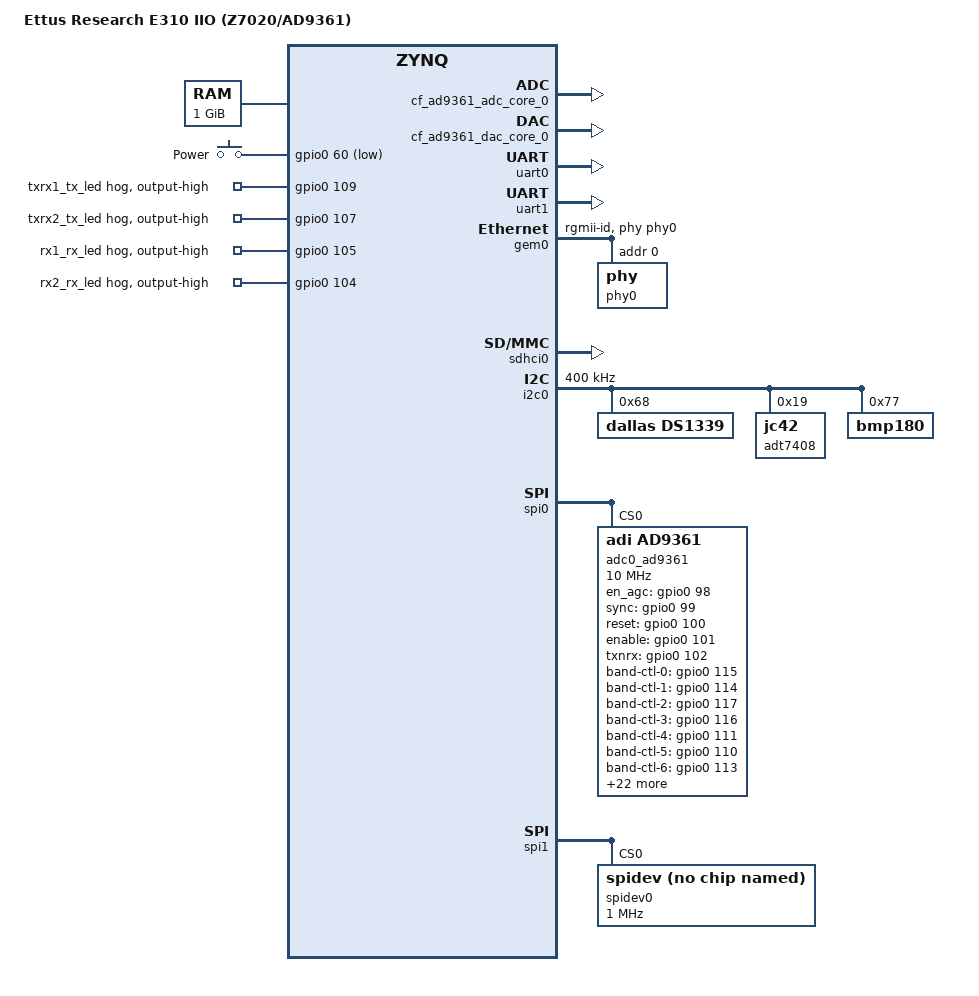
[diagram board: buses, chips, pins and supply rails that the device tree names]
// SPDX-License-Identifier: GPL-2.0
/*
 * Ettus Research E310
 * Link: https://www.ettus.com/all-products/e310/
 *
 * hdl_project: <usrpe31x>
 * board_revision: <>
 *
 * Copyright (C) 2018-2019 Analog Devices Inc.
 */
/dts-v1/;
#include "zynq.dtsi"
#include <dt-bindings/input/input.h>
#include <dt-bindings/gpio/gpio.h>
#include <dt-bindings/interrupt-controller/irq.h>

#define AD9361_EXT_BAND_CTL_SHORTHANDS
#include <dt-bindings/iio/adc/adi,ad9361.h>

/ {
	model = "Ettus Research E310 IIO (Z7020/AD9361)";
	memory {
		device_type = "memory";
		reg = <0x00000000 0x40000000>;
	};

	aliases: aliases {
		ethernet0 = &gem0;
		serial0 = &uart0;
		serial1 = &uart1;
	};

	chosen {
		stdout-path = "serial0:115200n8";
	};

	clocks {
		xo_40mhz_fixed_clk: clock@0 {
			#clock-cells = <0>;
			compatible = "adjustable-clock";
			clock-frequency = <40000000>;
			clock-accuracy = <200000>; /* 200 ppm (ppb) */
			clock-output-names = "ad9361_ext_refclk";
		};

		usb_ulpi_fixed_clk: clock@2 {
			#clock-cells = <0>;
			compatible = "fixed-clock";
			clock-frequency = <24000000>;
			clock-output-names = "24MHz";
		};
	};

	gpio-keys {
		#address-cells = <1>;
		#size-cells = <0>;
		compatible = "gpio-keys";

		power {
			interrupt-parent = <&gpio0>;
			label = "Power";
			gpios = <&gpio0 60 GPIO_ACTIVE_LOW>;

			linux,code = <KEY_POWER>;
			gpio-key,wakeup;
		};
	};
};

&uart0 {
	status = "okay";
};

&uart1 {
	status = "okay";
};

&gem0 {
	phy-handle = <&phy0>;
	phy-mode = "rgmii-id";

	phy0: phy@0 {
		device_type = "ethernet-phy";
		reg = <0x0>;
	};
};

&usb0 {
	xlnx,phy-reset-gpio = <&gpio0 7 0>;
};

&sdhci0 {
	status = "okay";
	disable-wp;
};

&i2c0 {
	status = "okay";
	clock-frequency = <400000>;

	ds1339: rtc@68 {
		compatible = "dallas,ds1339";
		reg = <0x68>;
	};

	adt7408: temp@19 {
		compatible = "jc42";
		reg = <0x19>;
	};

	bmp180: pressure@77 {
		compatible = "bmp180";
		reg = <0x77>;
	};
};

/ {
	fpga_axi: fpga-axi@0 {
		compatible = "simple-bus";
		#address-cells = <0x1>;
		#size-cells = <0x1>;
		ranges;

		axi_gpio: axi_gpio@41600000 {
			#gpio-cells = <2>;
			compatible = "xlnx,xps-gpio-1.00.a";
			gpio-controller ;
			reg = <0x41600000 0x10000>;
			interrupt-parent = <&intc>;

			#address-cells = <1>;
			#size-cells = <0>;

		};

		rx_dma: dma@7c400000 {
			compatible = "adi,axi-dmac-1.00.a";
			reg = <0x7c400000 0x10000>;
			#dma-cells = <1>;
			interrupts = <0 57 IRQ_TYPE_LEVEL_HIGH>;
			clocks = <&clkc 16>;

			adi,channels {
				#size-cells = <0>;
				#address-cells = <1>;

				dma-channel@0 {
					reg = <0>;
					adi,source-bus-width = <64>;
					adi,source-bus-type = <2>;
					adi,destination-bus-width = <64>;
					adi,destination-bus-type = <0>;
				};
			};
		};

		tx_dma: dma@7c420000 {
			compatible = "adi,axi-dmac-1.00.a";
			reg = <0x7c420000 0x10000>;
			#dma-cells = <1>;
			interrupts = <0 56 IRQ_TYPE_LEVEL_HIGH>;
			clocks = <&clkc 16>;

			adi,channels {
				#size-cells = <0>;
				#address-cells = <1>;

				dma-channel@0 {
					reg = <0>;
					adi,source-bus-width = <64>;
					adi,source-bus-type = <0>;
					adi,destination-bus-width = <64>;
					adi,destination-bus-type = <2>;
				};
			};
		};

		cf_ad9361_adc_core_0: cf-ad9361-lpc@79020000 {
			compatible = "adi,axi-ad9361-6.00.a";
			reg = <0x79020000 0x6000>;
			dmas = <&rx_dma 0>;
			dma-names = "rx";
			spibus-connected = <&adc0_ad9361>;
		};

		cf_ad9361_dac_core_0: cf-ad9361-dds-core-lpc@79024000 {
			compatible = "adi,axi-ad9361-dds-6.00.a";
			reg = <0x79024000 0x1000>;
			clocks = <&adc0_ad9361 13>;
			clock-names = "sampl_clk";
			dmas = <&tx_dma 0>;
			dma-names = "tx";
		};
	};
};

&gpio0 {
	txrx1_tx_led {
		gpio-hog;
		gpios = <109 GPIO_ACTIVE_HIGH>;
		output-high;
		line-name = "txrx1_tx_led";
	};

	txrx2_tx_led {
		gpio-hog;
		gpios = <107 GPIO_ACTIVE_HIGH>;
		output-high;
		line-name = "txrx2_tx_led";
	};

	rx1_rx_led {
		gpio-hog;
		gpios = <105 GPIO_ACTIVE_HIGH>;
		output-high;
		line-name = "rx1_rx_led";
	};

	rx2_rx_led {
		gpio-hog;
		gpios = <104 GPIO_ACTIVE_HIGH>;
		output-high;
		line-name = "rx2_rx_led";
	};
};

&spi0 {
	status = "okay";

	adc0_ad9361: ad9361-phy@0 {
		#address-cells = <1>;
		#size-cells = <0>;
		#clock-cells = <1>;
		compatible = "adi,ad9361";

		/* SPI Setup */
		reg = <0>;
		spi-cpha;
		spi-max-frequency = <10000000>;

		/* Clocks */
		clocks = <&xo_40mhz_fixed_clk 0>;
		clock-names = "ad9361_ext_refclk";
		clock-output-names = "rx_sampl_clk", "tx_sampl_clk";

		/* Digital Interface Control */

		 /* adi,digital-interface-tune-skip-mode:
		  * 0 = TUNE RX&TX
		  * 1 = SKIP TX
		  * 2 = SKIP ALL
		  */
		adi,digital-interface-tune-skip-mode = <0>;

		adi,pp-tx-swap-enable;
		adi,pp-rx-swap-enable;
		adi,rx-frame-pulse-mode-enable;
		adi,rx-data-delay = <4>;
		adi,tx-fb-clock-delay = <7>;

		/* CMOS */
		adi,full-port-enable;

		adi,xo-disable-use-ext-refclk-enable;

		/* Mode Setup */

		adi,2rx-2tx-mode-enable;

		/* ENSM Mode */
		adi,frequency-division-duplex-mode-enable;
		//adi,ensm-enable-pin-pulse-mode-enable;
		//adi,ensm-enable-txnrx-control-enable;


		/* adi,rx-rf-port-input-select:
		 * 0 = (RX1A_N &  RX1A_P) and (RX2A_N & RX2A_P) enabled; balanced
		 * 1 = (RX1B_N &  RX1B_P) and (RX2B_N & RX2B_P) enabled; balanced
		 * 2 = (RX1C_N &  RX1C_P) and (RX2C_N & RX2C_P) enabled; balanced
		 *
		 * 3 = RX1A_N and RX2A_N enabled; unbalanced
		 * 4 = RX1A_P and RX2A_P enabled; unbalanced
		 * 5 = RX1B_N and RX2B_N enabled; unbalanced
		 * 6 = RX1B_P and RX2B_P enabled; unbalanced
		 * 7 = RX1C_N and RX2C_N enabled; unbalanced
		 * 8 = RX1C_P and RX2C_P enabled; unbalanced
		 */

		adi,rx-rf-port-input-select = <0>; /* (RX1A_N &  RX1A_P) and (RX2A_N & RX2A_P) enabled; balanced */

		/* adi,tx-rf-port-input-select:
		 * 0	TX1A, TX2A
		 * 1	TX1B, TX2B
		 */

		adi,tx-rf-port-input-select = <0>; /* TX1A, TX2A */
		//adi,update-tx-gain-in-alert-enable;
		adi,tx-attenuation-mdB = <10000>;
		adi,tx-lo-powerdown-managed-enable;

		adi,rf-rx-bandwidth-hz = <18000000>;
		adi,rf-tx-bandwidth-hz = <18000000>;
		adi,rx-synthesizer-frequency-hz = /bits/ 64 <2400000000>;
		adi,tx-synthesizer-frequency-hz = /bits/ 64 <2450000000>;

		/*				BBPLL     ADC        R2CLK     R1CLK    CLKRF    RSAMPL  */
		adi,rx-path-clock-frequencies = <983040000 245760000 122880000 61440000 30720000 30720000>;
		/*				BBPLL     DAC        T2CLK     T1CLK    CLKTF    TSAMPL  */
		adi,tx-path-clock-frequencies = <983040000 122880000 122880000 61440000 30720000 30720000>;

		/* Gain Control */

		/* adi,gc-rx[1|2]-mode:
		 * 0 = RF_GAIN_MGC
		 * 1 = RF_GAIN_FASTATTACK_AGC
		 * 2 = RF_GAIN_SLOWATTACK_AGC
		 * 3 = RF_GAIN_HYBRID_AGC
		 */

		adi,gc-rx1-mode = <2>;
		adi,gc-rx2-mode = <2>;
		adi,gc-adc-ovr-sample-size = <4>; /* sum 4 samples */
		adi,gc-adc-small-overload-thresh = <47>; /* sum of squares */
		adi,gc-adc-large-overload-thresh = <58>; /* sum of squares */
		adi,gc-lmt-overload-high-thresh = <800>; /* mV */
		adi,gc-lmt-overload-low-thresh = <704>; /* mV */
		adi,gc-dec-pow-measurement-duration = <8192>; /* 0..524288 Samples */
		adi,gc-low-power-thresh = <24>; /* 0..-64 dBFS vals are set pos */
		//adi,gc-dig-gain-enable;
		//adi,gc-max-dig-gain = <15>;

		/* Manual Gain Control Setup */

		//adi,mgc-rx1-ctrl-inp-enable; /* uncomment to use ctrl inputs */
		//adi,mgc-rx2-ctrl-inp-enable; /* uncomment to use ctrl inputs */
		adi,mgc-inc-gain-step = <2>;
		adi,mgc-dec-gain-step = <2>;

		/* adi,mgc-split-table-ctrl-inp-gain-mode:
		 * (relevant if adi,split-gain-table-mode-enable is set)
		 * 0 = AGC determine this
		 * 1 = only in LPF
		 * 2 = only in LMT
		 */

		adi,mgc-split-table-ctrl-inp-gain-mode = <0>;

		/* Automatic Gain Control Setup */

		adi,agc-attack-delay-extra-margin-us= <1>; /* us */
		adi,agc-outer-thresh-high = <5>; /* -dBFS */
		adi,agc-outer-thresh-high-dec-steps = <2>; /* 0..15 */
		adi,agc-inner-thresh-high = <10>; /* -dBFS */
		adi,agc-inner-thresh-high-dec-steps = <1>; /* 0..7 */
		adi,agc-inner-thresh-low = <12>; /* -dBFS */
		adi,agc-inner-thresh-low-inc-steps = <1>; /* 0..7 */
		adi,agc-outer-thresh-low = <18>; /* -dBFS */
		adi,agc-outer-thresh-low-inc-steps = <2>; /* 0..15 */

		adi,agc-adc-small-overload-exceed-counter = <10>; /* 0..15 */
		adi,agc-adc-large-overload-exceed-counter = <10>; /* 0..15 */
		adi,agc-adc-large-overload-inc-steps = <2>; /* 0..15 */
		//adi,agc-adc-lmt-small-overload-prevent-gain-inc-enable;
		adi,agc-lmt-overload-large-exceed-counter = <10>; /* 0..15 */
		adi,agc-lmt-overload-small-exceed-counter = <10>; /* 0..15 */
		adi,agc-lmt-overload-large-inc-steps = <2>; /* 0..7 */
		//adi,agc-dig-saturation-exceed-counter = <3>; /* 0..15 */
		//adi,agc-dig-gain-step-size = <4>; /* 1..8 */

		//adi,agc-sync-for-gain-counter-enable;
		adi,agc-gain-update-interval-us = <1000>;  /* 1ms */
		//adi,agc-immed-gain-change-if-large-adc-overload-enable;
		//adi,agc-immed-gain-change-if-large-lmt-overload-enable;

		/* Fast AGC */

		adi,fagc-dec-pow-measurement-duration = <64>; /* 64 Samples */
		//adi,fagc-allow-agc-gain-increase-enable;
		adi,fagc-lp-thresh-increment-steps = <1>;
		adi,fagc-lp-thresh-increment-time = <5>;

		adi,fagc-energy-lost-stronger-sig-gain-lock-exit-cnt = <8>;
		adi,fagc-final-overrange-count = <3>;
		//adi,fagc-gain-increase-after-gain-lock-enable;
		adi,fagc-gain-index-type-after-exit-rx-mode = <0>;
		adi,fagc-lmt-final-settling-steps = <1>;
		adi,fagc-lock-level = <10>;
		adi,fagc-lock-level-gain-increase-upper-limit = <5>;
		adi,fagc-lock-level-lmt-gain-increase-enable;

		adi,fagc-lpf-final-settling-steps = <1>;
		adi,fagc-optimized-gain-offset = <5>;
		adi,fagc-power-measurement-duration-in-state5 = <64>;
		adi,fagc-rst-gla-engergy-lost-goto-optim-gain-enable;
		adi,fagc-rst-gla-engergy-lost-sig-thresh-below-ll = <10>;
		adi,fagc-rst-gla-engergy-lost-sig-thresh-exceeded-enable;
		adi,fagc-rst-gla-if-en-agc-pulled-high-mode = <0>;
		adi,fagc-rst-gla-large-adc-overload-enable;
		adi,fagc-rst-gla-large-lmt-overload-enable;
		adi,fagc-rst-gla-stronger-sig-thresh-above-ll = <10>;
		adi,fagc-rst-gla-stronger-sig-thresh-exceeded-enable;
		adi,fagc-state-wait-time-ns = <260>;
		adi,fagc-use-last-lock-level-for-set-gain-enable;

		/* RSSI */

		/* adi,rssi-restart-mode:
		 * 0 = AGC_IN_FAST_ATTACK_MODE_LOCKS_THE_GAIN,
		 * 1 = EN_AGC_PIN_IS_PULLED_HIGH,
		 * 2 = ENTERS_RX_MODE,
		 * 3 = GAIN_CHANGE_OCCURS,
		 * 4 = SPI_WRITE_TO_REGISTER,
		 * 5 = GAIN_CHANGE_OCCURS_OR_EN_AGC_PIN_PULLED_HIGH,
		 */
		adi,rssi-restart-mode = <3>;
		//adi,rssi-unit-is-rx-samples-enable;
		adi,rssi-delay = <1>; /* 1us */
		adi,rssi-wait = <1>; /* 1us */
		adi,rssi-duration = <1000>; /* 1ms */

		/* Control Outputs */
		adi,ctrl-outs-index = <0>;
		adi,ctrl-outs-enable-mask = <0xFF>;

		/* AuxADC Temp Sense Control */

		adi,temp-sense-measurement-interval-ms = <1000>;
		adi,temp-sense-offset-signed = <0xCE>;
		adi,temp-sense-periodic-measurement-enable;

		/* AuxDAC Control */

		adi,aux-dac-manual-mode-enable;

		adi,aux-dac1-default-value-mV = <0>;
		//adi,aux-dac1-active-in-rx-enable;
		//adi,aux-dac1-active-in-tx-enable;
		//adi,aux-dac1-active-in-alert-enable;
		adi,aux-dac1-rx-delay-us = <0>;
		adi,aux-dac1-tx-delay-us = <0>;

		adi,aux-dac2-default-value-mV = <0>;
		//adi,aux-dac2-active-in-rx-enable;
		//adi,aux-dac2-active-in-tx-enable;
		//adi,aux-dac2-active-in-alert-enable;
		adi,aux-dac2-rx-delay-us = <0>;
		adi,aux-dac2-tx-delay-us = <0>;

		/* Control GPIOs */

		en_agc-gpios = <&gpio0 98 0>;
		sync-gpios = <&gpio0 99 0>;
		reset-gpios = <&gpio0 100 0>;
		enable-gpios = <&gpio0 101 0>;
		txnrx-gpios = <&gpio0 102 0>;

		/* Filter Bank Control */

		adi,rx-rf-port-input-select-lock-enable;
		adi,tx-rf-port-input-select-lock-enable;

		adi,band-ctl-0-gpio = <&gpio0 115 GPIO_ACTIVE_HIGH>; /* txrx2_antsel_v1 */
		adi,band-ctl-1-gpio = <&gpio0 114 GPIO_ACTIVE_HIGH>; /* txrx2_antsel_v2 */
		adi,band-ctl-2-gpio = <&gpio0 117 GPIO_ACTIVE_HIGH>; /* txrx1_antsel_v1 */
		adi,band-ctl-3-gpio = <&gpio0 116 GPIO_ACTIVE_HIGH>; /* txrx1_antsel_v2 */

		adi,band-ctl-4-gpio = <&gpio0 111 GPIO_ACTIVE_HIGH>; /* rx2_antsel_v1 */
		adi,band-ctl-5-gpio = <&gpio0 110 GPIO_ACTIVE_HIGH>; /* rx2_antsel_v2 */
		adi,band-ctl-6-gpio = <&gpio0 113 GPIO_ACTIVE_HIGH>; /* rx1_antsel_v1 */
		adi,band-ctl-7-gpio = <&gpio0 112 GPIO_ACTIVE_HIGH>; /* rx1_antsel_v2 */

		adi,band-ctl-8-gpio = <&gpio0 80 GPIO_ACTIVE_HIGH>; /* tx_bandsel_[2] */
		adi,band-ctl-9-gpio = <&gpio0 79 GPIO_ACTIVE_HIGH>; /* tx_bandsel_[1] */
		adi,band-ctl-10-gpio = <&gpio0 78 GPIO_ACTIVE_HIGH>; /* tx_bandsel_[0] */

		adi,band-ctl-11-gpio = <&gpio0 68 GPIO_ACTIVE_HIGH>; /* rx_bandsel_2_[2] */
		adi,band-ctl-12-gpio = <&gpio0 67 GPIO_ACTIVE_HIGH>; /* rx_bandsel_2_[1] */
		adi,band-ctl-13-gpio = <&gpio0 66 GPIO_ACTIVE_HIGH>; /* rx_bandsel_2_[0] */
		adi,band-ctl-14-gpio = <&gpio0 65 GPIO_ACTIVE_HIGH>; /* rx_bandsel_2b_[1] */
		adi,band-ctl-15-gpio = <&gpio0 64 GPIO_ACTIVE_HIGH>; /* rx_bandsel_2b_[0] */
		adi,band-ctl-16-gpio = <&gpio0 63 GPIO_ACTIVE_HIGH>; /* rx_bandsel_2c_[1] */
		adi,band-ctl-17-gpio = <&gpio0 62 GPIO_ACTIVE_HIGH>; /* rx_bandsel_2c_[0] */
		adi,band-ctl-18-gpio = <&gpio0 76 GPIO_ACTIVE_HIGH>; /* rx_bandsel_1_[2] */
		adi,band-ctl-19-gpio = <&gpio0 75 GPIO_ACTIVE_HIGH>; /* rx_bandsel_1_[1] */
		adi,band-ctl-20-gpio = <&gpio0 74 GPIO_ACTIVE_HIGH>; /* rx_bandsel_1_[0] */
		adi,band-ctl-21-gpio = <&gpio0 73 GPIO_ACTIVE_HIGH>; /* rx_bandsel_1b_[1] */
		adi,band-ctl-22-gpio = <&gpio0 72 GPIO_ACTIVE_HIGH>; /* rx_bandsel_1b_[0] */
		adi,band-ctl-23-gpio = <&gpio0 71 GPIO_ACTIVE_HIGH>; /* rx_bandsel_1c_[1] */
		adi,band-ctl-24-gpio = <&gpio0 70 GPIO_ACTIVE_HIGH>; /* rx_bandsel_1c_[0] */

		adi,band-ctl-25-gpio = <&gpio0 84 GPIO_ACTIVE_HIGH>; /* tx_enable_2a */
		adi,band-ctl-26-gpio = <&gpio0 85 GPIO_ACTIVE_HIGH>; /* tx_enable_1a */
		adi,band-ctl-27-gpio = <&gpio0 82 GPIO_ACTIVE_HIGH>; /* tx_enable_2b */
		adi,band-ctl-28-gpio = <&gpio0 83 GPIO_ACTIVE_HIGH>; /* tx_enable_1b */


		e310_tx_amp_disable: e310_tx_amp_disable {
			adi,gpio-settings = <_ _ _ _ _ _ _ _ _ _ _ _ _ _ _ _ _ _ _ _ _ _ _ _ _ 0 0 0 0>;
		};

		e310_tx_amp_a_enable: e310_tx_amp_a_enable {
			adi,gpio-settings = <_ _ _ _ _ _ _ _ _ _ _ _ _ _ _ _ _ _ _ _ _ _ _ _ _ 1 1 0 0>;
		};

		e310_tx_amp_b_enable: e310_tx_amp_b_enable {
			adi,gpio-settings = <_ _ _ _ _ _ _ _ _ _ _ _ _ _ _ _ _ _ _ _ _ _ _ _ _ 0 0 1 1>;
		};

		ad9361_rx_ant_port_a: ad9361_rx_ant_port_a {
			adi,rx-rf-port-input-select = <0>; /* (RX1A_N &  RX1A_P) and (RX2A_N & RX2A_P) enabled; balanced */
		};

		ad9361_rx_ant_port_b: ad9361_rx_ant_port_b {
			adi,rx-rf-port-input-select = <1>; /* (RX1B_N &  RX1B_P) and (RX2B_N & RX2B_P) enabled; balanced */
		};

		ad9361_rx_ant_port_c: ad9361_rx_ant_port_c {
			adi,rx-rf-port-input-select = <2>; /* (RX1C_N &  RX1C_P) and (RX2C_N & RX2C_P) enabled; balanced */
		};

		ad9361_tx_ant_port_a: ad9361_tx_ant_port_a {
			adi,tx-rf-port-input-select = <0>; /* TX1A, TX2A */
		};

		ad9361_tx_ant_port_b: ad9361_tx_ant_port_b {
			adi,tx-rf-port-input-select = <1>; /* TX1B, TX2B */
		};

		/* Init / Exit */

		adi_ext_band_ctl_init {
			adi,gpio-settings = <1 1 1 1 1 0 0 1 0 0 0 0 0 0 0 0 0 0 0 0 0 0 0 0 0 0 0 0 0>;
		};

		adi_ext_band_ctl_uninit {
			adi,gpio-settings = <1 1 1 1 1 0 0 1 0 0 0 0 0 0 0 0 0 0 0 0 0 0 0 0 0 0 0 0 0>;
		};

		/* Receive Side */

		adi_rx_band_setting_0 {
			adi,lo-freq-min = /bits/ 64 <0>;
			adi,lo-freq-max = /bits/ 64 <450000000>;

			adi,gpio-settings = <_ _ _ _ 0 1 0 1 _ _ _ 1 0 1 _ _ 0 1 1 0 0 _ _ 1 0 _ _ _ _>;
			adi,band-ctl-post = <&ad9361_rx_ant_port_c 0>;
		};

		adi_rx_band_setting_1 {
			adi,lo-freq-min = /bits/ 64 <450000000>;
			adi,lo-freq-max = /bits/ 64 <700000000>;

			adi,gpio-settings = <_ _ _ _ 0 1 0 1 _ _ _ 0 1 1 _ _ 1 1 0 1 0 _ _ 1 1 _ _ _ _>;
			adi,band-ctl-post = <&ad9361_rx_ant_port_c 0>;
		};

		adi_rx_band_setting_2 {
			adi,lo-freq-min = /bits/ 64 <700000000>;
			adi,lo-freq-max = /bits/ 64 <1200000000>;

			adi,gpio-settings = <_ _ _ _ 0 1 0 1 _ _ _ 0 0 1 _ _ 1 0 0 0 0 _ _ 0 1 _ _ _ _>;
			adi,band-ctl-post = <&ad9361_rx_ant_port_c 0>;
		};

		adi_rx_band_setting_3 {
			adi,lo-freq-min = /bits/ 64 <1200000000>;
			adi,lo-freq-max = /bits/ 64 <1800000000>;

			adi,gpio-settings = <_ _ _ _ 0 1 0 1 _ _ _ 0 0 0 0 1 _ _ 0 0 1 1 0 _ _ _ _ _ _>;
			adi,band-ctl-post = <&ad9361_rx_ant_port_b 0>;
		};


		adi_rx_band_setting_4 {
			adi,lo-freq-min = /bits/ 64 <1800000000>;
			adi,lo-freq-max = /bits/ 64 <2350000000>;

			adi,gpio-settings = <_ _ _ _ 0 1 0 1 _ _ _ 0 1 0 1 1 _ _ 0 1 1 1 1 _ _ _ _ _ _>;
			adi,band-ctl-post = <&ad9361_rx_ant_port_b 0>;
		};

		adi_rx_band_setting_5 {
			adi,lo-freq-min = /bits/ 64 <2350000000>;
			adi,lo-freq-max = /bits/ 64 <2600000000>;

			adi,gpio-settings = <_ _ _ _ 0 1 0 1 _ _ _ 1 0 0 1 0 _ _ 1 0 1 0 1 _ _ _ _ _ _>;
			adi,band-ctl-post = <&ad9361_rx_ant_port_b 0>;

		};

		adi_rx_band_setting_6 {
			adi,lo-freq-min = /bits/ 64 <2600000000>;
			adi,lo-freq-max = /bits/ 64 <6000000001>;

			adi,gpio-settings = <_ _ _ _ 1 0 1 0 _ _ _ _ _ _ _ _ _ _ _ _ _ _ _ _ _ _ _ _ _>;
			adi,band-ctl-post = <&ad9361_rx_ant_port_a 0>;
		};


		/* Transmit Side */

		adi_tx_band_setting_0 {
			adi,lo-freq-min = /bits/ 64 <0>;
			adi,lo-freq-max = /bits/ 64 <117700000>;

			adi,band-ctl-pre = <&e310_tx_amp_disable 0>;
			adi,gpio-settings = <1 0 0 1 _ _ _ _ 1 1 1 _ _ _ _ _ _ _ _ _ _ _ _ _ _ _ _ _ _>;
			adi,band-ctl-post = <&ad9361_tx_ant_port_b 0 &e310_tx_amp_b_enable 0>;
		};

		adi_tx_band_setting_1 {
			adi,lo-freq-min = /bits/ 64 <117700000>;
			adi,lo-freq-max = /bits/ 64 <178200000>;

			adi,band-ctl-pre = <&e310_tx_amp_disable 0>;
			adi,gpio-settings = <1 0 0 1 _ _ _ _ 1 1 0 _ _ _ _ _ _ _ _ _ _ _ _ _ _ _ _ _ _>;
			adi,band-ctl-post = <&ad9361_tx_ant_port_b 0 &e310_tx_amp_b_enable 0>;
		};

		adi_tx_band_setting_2 {
			adi,lo-freq-min = /bits/ 64 <178200000>;
			adi,lo-freq-max = /bits/ 64 <284300000>;

			adi,band-ctl-pre = <&e310_tx_amp_disable 0>;
			adi,gpio-settings = <1 0 0 1 _ _ _ _ 1 0 1 _ _ _ _ _ _ _ _ _ _ _ _ _ _ _ _ _ _>;
			adi,band-ctl-post = <&ad9361_tx_ant_port_b 0 &e310_tx_amp_b_enable 0>;
		};

		adi_tx_band_setting_3 {
			adi,lo-freq-min = /bits/ 64 <284300000>;
			adi,lo-freq-max = /bits/ 64 <453700000>;

			adi,band-ctl-pre = <&e310_tx_amp_disable 0>;
			adi,gpio-settings = <1 0 0 1 _ _ _ _ 1 0 0 _ _ _ _ _ _ _ _ _ _ _ _ _ _ _ _ _ _>;
			adi,band-ctl-post = <&ad9361_tx_ant_port_b 0 &e310_tx_amp_b_enable 0>;
		};

		adi_tx_band_setting_4 {
			adi,lo-freq-min = /bits/ 64 <453700000>;
			adi,lo-freq-max = /bits/ 64 <723800000>;

			adi,band-ctl-pre = <&e310_tx_amp_disable 0>;
			adi,gpio-settings = <1 0 0 1 _ _ _ _ 0 1 1 _ _ _ _ _ _ _ _ _ _ _ _ _ _ _ _ _ _>;
			adi,band-ctl-post = <&ad9361_tx_ant_port_b 0 &e310_tx_amp_b_enable 0>;
		};

		adi_tx_band_setting_5 {
			adi,lo-freq-min = /bits/ 64 <723800000>;
			adi,lo-freq-max = /bits/ 64 <1154900000>;

			adi,band-ctl-pre = <&e310_tx_amp_disable 0>;
			adi,gpio-settings = <1 0 0 1 _ _ _ _ 0 1 0 _ _ _ _ _ _ _ _ _ _ _ _ _ _ _ _ _ _>;
			adi,band-ctl-post = <&ad9361_tx_ant_port_b 0 &e310_tx_amp_b_enable 0>;
		};

		adi_tx_band_setting_6 {
			adi,lo-freq-min = /bits/ 64 <1154900000>;
			adi,lo-freq-max = /bits/ 64 <1842600000>;

			adi,band-ctl-pre = <&e310_tx_amp_disable 0>;
			adi,gpio-settings = <1 0 0 1 _ _ _ _ 0 0 1 _ _ _ _ _ _ _ _ _ _ _ _ _ _ _ _ _ _>;
			adi,band-ctl-post = <&ad9361_tx_ant_port_b 0 &e310_tx_amp_b_enable 0>;
		};

		adi_tx_band_setting_7 {
			adi,lo-freq-min = /bits/ 64 <1842600000>;
			adi,lo-freq-max = /bits/ 64 <2940000000>;

			adi,band-ctl-pre = <&e310_tx_amp_disable 0>;
			adi,gpio-settings = <1 0 0 1 _ _ _ _ 0 0 0 _ _ _ _ _ _ _ _ _ _ _ _ _ _ _ _ _ _>;
			adi,band-ctl-post = <&ad9361_tx_ant_port_b 0 &e310_tx_amp_b_enable 0>;
		};

		adi_tx_band_setting_8 {
			adi,lo-freq-min = /bits/ 64 <2940000000>;
			adi,lo-freq-max = /bits/ 64 <6000000001>;

			adi,band-ctl-pre = <&e310_tx_amp_disable 0>;
			adi,gpio-settings = <1 1 1 1 _ _ _ _ _ _ _ _ _ _ _ _ _ _ _ _ _ _ _ _ _ _ _ _ _>;
			adi,band-ctl-post = <&ad9361_tx_ant_port_a 0 &e310_tx_amp_a_enable 0>;

		};
	};

// 	ad5662@1 {
// 		compatible = "adi,ad5662";
// 		reg = <1>;
// 		spi-max-frequency = <1000000>;
// 	};
};

&spi1 { /* AVR SPI */
	/* echo -ne "\x01\x00\x00\x00\x00\x00\x7A\x00" > /dev/spidev32765.0 */
	status = "okay";

	spidev0: spidev@0 {
		compatible = "rohm,dh2228fv";
		reg = <0>;
		spi-max-frequency = <1000000>;
	};
};

/*
	txrx1_antsel_v1		63	117
	txrx1_antsel_v2		62	116
	txrx2_antsel_v1		61	115
	txrx2_antsel_v2		60	114
	rx1_antsel_v1		59	113
	rx1_antsel_v2		58	112
	rx2_antsel_v1		57	111
	rx2_antsel_v2		56	110
	tx_bandsel_[2]		26	80
	tx_bandsel_[1]		25	79
	tx_bandsel_[0]		24	78
	rx_bandsel_1_[2]	22	76
	rx_bandsel_1_[1]	21	75
	rx_bandsel_1_[0]	20	74
	rx_bandsel_1b_[1]	19	73
	rx_bandsel_1b_[0]	18	72
	rx_bandsel_1c_[1]	17	71
	rx_bandsel_1c_[0]	16	70
	rx_bandsel_2_[2]	14	68
	rx_bandsel_2_[1]	13	67
	rx_bandsel_2_[0]	12	66
	rx_bandsel_2b_[1]	11	65
	rx_bandsel_2b_[0]	10	64
	rx_bandsel_2c_[1]	9	63
	rx_bandsel_2c_[0]	8	62
	tx_enable_1a		31	85
	tx_enable_2a		30	84
	tx_enable_1b		29	83
	tx_enable_2b		28	82

	txrx1_tx_led		55	109
	txrx1_rx_led		54	108
	txrx2_tx_led		53	107
	txrx2_rx_led		52	106
	rx1_rx_led		51	105
	rx2_rx_led		50	104

	avr_irq 		7
	pwr_switch 		6

*/
